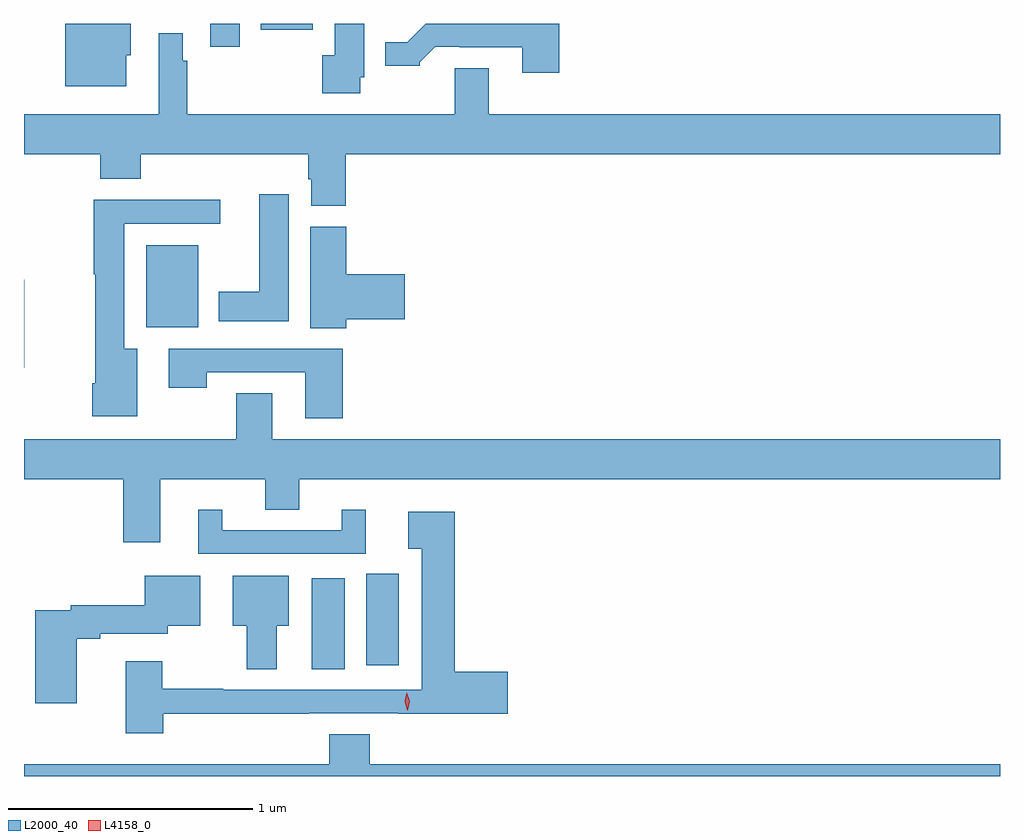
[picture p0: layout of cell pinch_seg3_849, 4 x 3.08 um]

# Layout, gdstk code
import gdstk
lib = gdstk.Library(unit=1e-6, precision=1e-09)
def R(c, l, rs):  # rectangles x0, y0, x1, y1
    for r in rs: c.add(gdstk.rectangle(r[:2], r[2:], *l))
def P(c, l, *ps):  # polygons
    for p in ps: c.add(gdstk.Polygon(p, *l))
L2000_40 = (2000, 40)
L4158_0 = (4158, 0)

pinch_seg3_849 = lib.new_cell('pinch_seg3_849')
R(pinch_seg3_849, L2000_40, [(649.76,666.838,649.894,667.21), (649.982,666.855,650.116,667.23), (648.58,668.074,648.582,668.434), (649.082,668.24,649.294,668.575), (649.343,669.39,649.465,669.483), (649.551,669.459,649.764,669.483)])
P(pinch_seg3_849, L2000_40, [(649,669.354),(649.018,669.354),(649.018,669.483),(648.749,669.483),(648.749,669.227),(649,669.227)],
  [(650.774,669.483),(650.226,669.483),(650.151,669.408),(650.06,669.408),(650.06,669.311),(650.202,669.311),(650.202,669.326),(650.266,669.39),(650.365,669.39),(650.365,669.387),(650.621,669.387),(650.621,669.282),(650.774,669.282)],
  [(649.959,669.264),(649.975,669.264),(649.975,669.483),(649.853,669.483),(649.853,669.354),(649.802,669.354),(649.802,669.198),(649.959,669.198)],
  [(649.898,668.948),(652.58,668.948),(652.58,669.112),(650.485,669.112),(650.485,669.302),(650.345,669.302),(650.345,669.112),(649.25,669.112),(649.25,669.332),(649.23,669.332),(649.23,669.445),(649.133,669.445),(649.133,669.112),(648.58,669.112),(648.58,668.948),(648.893,668.948),(648.893,668.849),(649.058,668.849),(649.058,668.948),(649.745,668.948),(649.745,668.847),(649.757,668.847),(649.757,668.737),(649.898,668.737)],
  [(649.666,668.785),(649.544,668.785),(649.544,668.386),(649.379,668.386),(649.379,668.264),(649.666,668.264)],
  [(649.045,668.152),(648.991,668.152),(648.991,668.664),(649.384,668.664),(649.384,668.762),(648.866,668.762),(648.866,668.457),(648.871,668.457),(648.871,668.01),(648.86,668.01),(648.86,667.874),(649.045,667.874)],
  [(649.901,668.273),(650.14,668.273),(650.14,668.456),(649.901,668.456),(649.901,668.652),(649.754,668.652),(649.754,668.236),(649.901,668.236)],
  [(649.886,668.151),(649.173,668.151),(649.173,667.992),(649.329,667.992),(649.329,668.055),(649.733,668.055),(649.733,667.866),(649.886,667.866)],
  [(648.58,667.616),(648.986,667.616),(648.986,667.359),(649.138,667.359),(649.138,667.616),(649.568,667.616),(649.568,667.492),(649.708,667.492),(649.708,667.616),(652.58,667.616),(652.58,667.78),(649.597,667.78),(649.597,667.97),(649.45,667.97),(649.45,667.78),(648.58,667.78)],
  [(649.981,667.492),(649.883,667.492),(649.883,667.407),(649.393,667.407),(649.393,667.492),(649.295,667.492),(649.295,667.311),(649.981,667.311)],
  [(649.151,666.656),(649.748,666.656),(649.748,666.657),(650.114,666.657),(650.114,666.656),(650.563,666.656),(650.563,666.827),(650.345,666.827),(650.345,667.483),(650.154,667.483),(650.154,667.331),(650.21,667.331),(650.21,666.753),(649.397,666.753),(649.397,666.758),(649.146,666.758),(649.146,666.871),(648.998,666.871),(648.998,666.576),(649.151,666.576)],
  [(649.615,667.016),(649.666,667.016),(649.666,667.222),(649.436,667.222),(649.436,667.016),(649.493,667.016),(649.493,666.838),(649.615,666.838)],
  [(648.796,666.964),(648.892,666.964),(648.892,666.984),(649.17,666.984),(649.17,667.016),(649.303,667.016),(649.303,667.222),(649.074,667.222),(649.074,667.1),(648.772,667.1),(648.772,667.08),(648.626,667.08),(648.626,666.699),(648.796,666.699)],
  [(652.58,666.448),(649.997,666.448),(649.997,666.572),(649.832,666.572),(649.832,666.448),(648.58,666.448),(648.58,666.4),(652.58,666.4)])
P(pinch_seg3_849, L4158_0, [(650.151,666.67),(650.14,666.706),(650.149,666.742),(650.149,666.742),(650.149,666.742),(650.16,666.706),(650.152,666.67),(650.152,666.67)])

lib.write_gds('pinch_seg3_849.gds')
